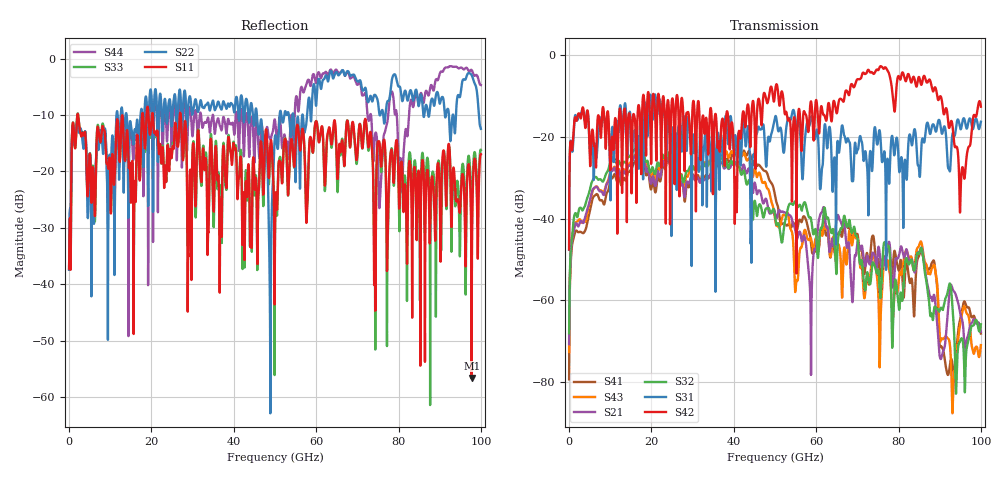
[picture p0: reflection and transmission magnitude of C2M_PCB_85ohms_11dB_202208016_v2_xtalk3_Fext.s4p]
! Info: Touchstone file created by Circ.  Input file=Intel_C2M_200G_2p0in_202208016_staggered.circ
# Hz S RI R 50
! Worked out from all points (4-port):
!   10000 points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, 10 MHz to 100 GHz, reference 50 ohm
!   strongest paths, dB at 10 MHz, 25.01 GHz, 50.01 GHz, 75.01 GHz, 100 GHz:
!     S42: -47.5, -10.7, -9.1, -3.6, -12.6
!     S31: -47.6, -22.4, -15.1, -21.1, -16.2
!     S32: -68.1, -24.6, -39.4, -52.4, -65.9
!     S21: -70.7, -25.7, -38.6, -47.7, -67.7
!     S43: -72.7, -24.1, -40.0, -57.0, -70.9
!     S41: -79.3, -25.3, -34.4, -50.0, -68.1
!   lowest |S11| = -56.6 dB at 97.76 GHz (marker M1), VSWR 1.00, Z = 50.1 - j0.0535 ohm
!   |S11| at or under -10 dB: 2.187 GHz to 17.73 GHz (15.54 GHz wide, 156 % of centre); 20.34 GHz to 26.89 GHz (6.544 GHz wide, 27.7 % of centre); 27.11 GHz to end of sweep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
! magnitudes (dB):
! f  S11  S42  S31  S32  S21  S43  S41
! 10 MHz  -37.2  -47.5  -47.6  -68.1  -70.7  -72.7  -79.3
! 6.22 GHz  -27.5  -22.2  -22.7  -29.9  -32.3  -32.3  -34.3
! 40.71 GHz  -19.8  -38.4  -26.0  -26.7  -26.6  -23.4  -23.9
! 48.86 GHz  -15.5  -8.1  -20.5  -38.4  -38.7  -34.5  -30.8
! 62.09 GHz  -22.5  -14.9  -16.9  -37.4  -39.1  -41.6  -42.1
! 97.76 GHz  -56.6  -18.6  -17.0  -66.3  -65.5  -71.0  -64.1
! 100 GHz  -16.9  -12.6  -16.2  -65.9  -67.7  -70.9  -68.1
